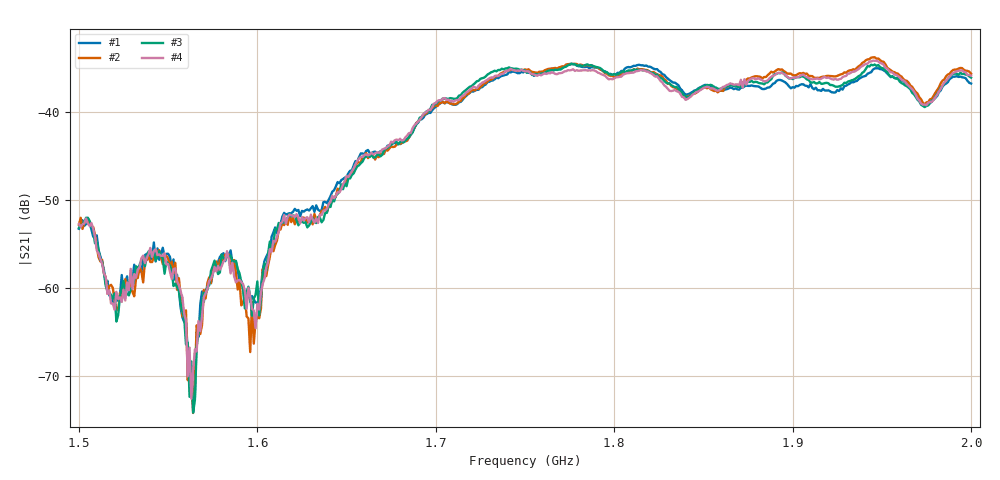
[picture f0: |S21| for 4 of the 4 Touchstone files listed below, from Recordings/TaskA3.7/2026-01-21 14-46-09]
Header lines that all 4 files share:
! NanoVNA-App by SYSJOINT et al v1.1.209 (+OD18)
! Start: 1,5GHz Stop: 2GHz Points: 501
! S-Parameter data: F S11 S21 S12 S22
# Hz S RI R 50
!  Frequency  S11_Real  S11_Imag  S21_Real  S21_Imag  S12_Real  S12_Imag  S22_Real  S22_Imag
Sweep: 1.5 GHz to 2 GHz
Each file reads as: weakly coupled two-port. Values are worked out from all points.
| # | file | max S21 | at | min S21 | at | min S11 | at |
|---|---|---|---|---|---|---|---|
| 1 | 0.s2p | -34.58 dB | 1.776 GHz | -72.4 dB | 1.565 GHz | -29.7 dB | 1.817 GHz |
| 2 | 1.s2p | -33.82 dB | 1.946 GHz | -74.1 dB | 1.564 GHz | -30.1 dB | 1.817 GHz |
| 3 | 2.s2p | -34.54 dB | 1.776 GHz | -74.1 dB | 1.564 GHz | -30.8 dB | 1.817 GHz |
| 4 | 3.s2p | -34.19 dB | 1.945 GHz | -72.5 dB | 1.563 GHz | -30.3 dB | 1.817 GHz |
